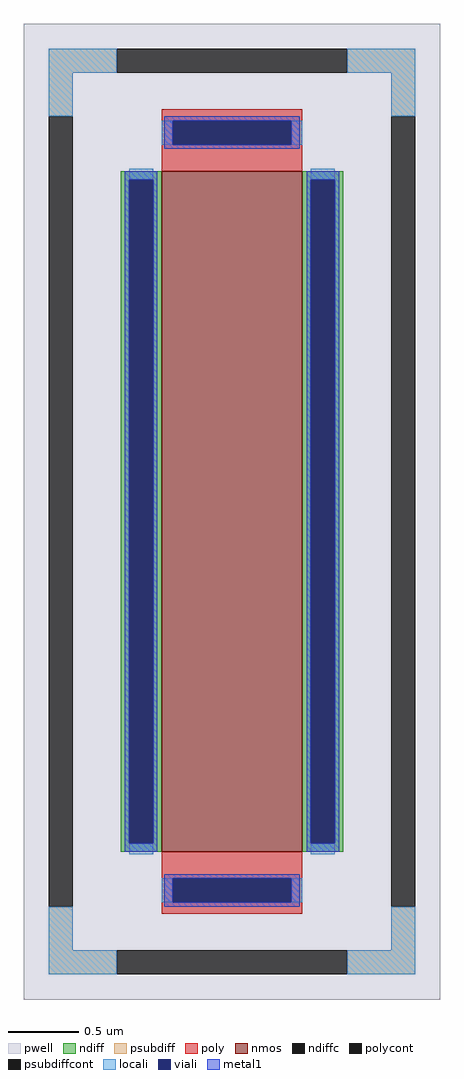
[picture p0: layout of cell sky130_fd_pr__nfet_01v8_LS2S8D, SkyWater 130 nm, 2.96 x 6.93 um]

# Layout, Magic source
magic
tech sky130A
magscale 1 2
<< pwell >>
rect -296 -693 296 693
<< nmos >>
rect -100 -483 100 483
<< ndiff >>
rect -158 471 -100 483
rect -158 -471 -146 471
rect -112 -471 -100 471
rect -158 -483 -100 -471
rect 100 471 158 483
rect 100 -471 112 471
rect 146 -471 158 471
rect 100 -483 158 -471
<< ndiffc >>
rect -146 -471 -112 471
rect 112 -471 146 471
<< psubdiff >>
rect -260 623 -164 657
rect 164 623 260 657
rect -260 561 -226 623
rect 226 561 260 623
rect -260 -623 -226 -561
rect 226 -623 260 -561
rect -260 -657 -164 -623
rect 164 -657 260 -623
<< psubdiffcont >>
rect -164 623 164 657
rect -260 -561 -226 561
rect 226 -561 260 561
rect -164 -657 164 -623
<< poly >>
rect -100 555 100 571
rect -100 521 -84 555
rect 84 521 100 555
rect -100 483 100 521
rect -100 -521 100 -483
rect -100 -555 -84 -521
rect 84 -555 100 -521
rect -100 -571 100 -555
<< polycont >>
rect -84 521 84 555
rect -84 -555 84 -521
<< locali >>
rect -260 623 -164 657
rect 164 623 260 657
rect -260 561 -226 623
rect 226 561 260 623
rect -100 521 -84 555
rect 84 521 100 555
rect -146 471 -112 487
rect -146 -487 -112 -471
rect 112 471 146 487
rect 112 -487 146 -471
rect -100 -555 -84 -521
rect 84 -555 100 -521
rect -260 -623 -226 -561
rect 226 -623 260 -561
rect -260 -657 -164 -623
rect 164 -657 260 -623
<< viali >>
rect -84 521 84 555
rect -146 -471 -112 471
rect 112 -471 146 471
rect -84 -555 84 -521
<< metal1 >>
rect -96 555 96 561
rect -96 521 -84 555
rect 84 521 96 555
rect -96 515 96 521
rect -152 471 -106 483
rect -152 -471 -146 471
rect -112 -471 -106 471
rect -152 -483 -106 -471
rect 106 471 152 483
rect 106 -471 112 471
rect 146 -471 152 471
rect 106 -483 152 -471
rect -96 -521 96 -515
rect -96 -555 -84 -521
rect 84 -555 96 -521
rect -96 -561 96 -555
<< properties >>
string FIXED_BBOX -243 -640 243 640
string gencell sky130_fd_pr__nfet_01v8
string library sky130
string parameters w 4.829 l 1.000 m 1 nf 1 diffcov 100 polycov 100 guard 1 glc 1 grc 1 gtc 1 gbc 1 tbcov 100 rlcov 100 topc 1 botc 1 poverlap 0 doverlap 1 lmin 0.15 wmin 0.42 compatible {sky130_fd_pr__nfet_01v8 sky130_fd_pr__nfet_01v8_lvt  sky130_fd_bs_flash__special_sonosfet_star  sky130_fd_pr__nfet_g5v0d10v5 sky130_fd_pr__nfet_05v0_nvt  sky130_fd_pr__nfet_03v3_nvt} full_metal 1 viasrc 100 viadrn 100 viagate 100 viagb 0 viagr 0 viagl 0 viagt 0
<< end >>
